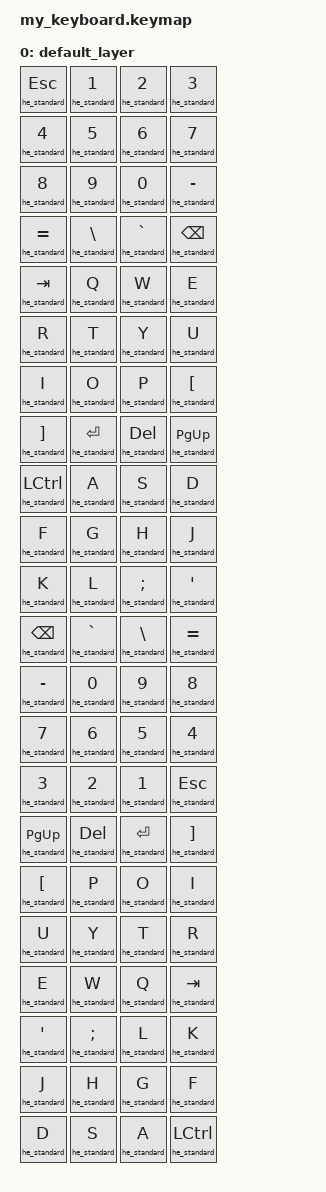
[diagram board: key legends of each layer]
#include <behaviors.dtsi>
#include <dt-bindings/zmk/keys.h>
#include <dt-bindings/zmk/rgb.h>

/ {
    behaviors {
        /* Adjustable actuation: takes a keycode as an argument */
        /* Usage: &he_standard ESC */
        he_standard: he_standard {
            compatible = "he,behavior-adjustable-actuation";
            #binding-cells = <1>; // Changed to 1 to accept keycode
            press-threshold-percent = <50>;
            release-threshold-percent = <45>;
        };
    };

    keymap {
        compatible = "zmk,keymap";
        default_layer {
            // Combined bindings for both halves (88 total)
            bindings = <
                /* Left Half - Row 0 (Mux 0) */
                &he_standard ESC   &he_standard N1   &he_standard N2   &he_standard N3
                &he_standard N4   &he_standard N5   &he_standard N6   &he_standard N7
                &he_standard N8   &he_standard N9   &he_standard N0   &he_standard MINUS
                &he_standard EQUAL &he_standard BSLH &he_standard GRAVE &he_standard BSPC

                /* Left Half - Row 1 (Mux 1) */
                &he_standard TAB  &he_standard Q    &he_standard W    &he_standard E
                &he_standard R    &he_standard T    &he_standard Y    &he_standard U
                &he_standard I    &he_standard O    &he_standard P    &he_standard LBKT
                &he_standard RBKT &he_standard RET  &he_standard DEL  &he_standard PG_UP

                /* Left Half - Row 2 (Mux 2) */
                &he_standard LCTRL &he_standard A   &he_standard S    &he_standard D
                &he_standard F    &he_standard G    &he_standard H    &he_standard J
                &he_standard K    &he_standard L    &he_standard SEMI &he_standard SQT

                /* Right Half - Row 3 (Mux 0) */
                &he_standard BSPC &he_standard GRAVE &he_standard BSLH &he_standard EQUAL
                &he_standard MINUS &he_standard N0 &he_standard N9 &he_standard N8
                &he_standard N7 &he_standard N6 &he_standard N5 &he_standard N4
                &he_standard N3 &he_standard N2 &he_standard N1 &he_standard ESC

                /* Right Half - Row 4 (Mux 1) */
                &he_standard PG_UP &he_standard DEL &he_standard RET &he_standard RBKT
                &he_standard LBKT &he_standard P &he_standard O &he_standard I
                &he_standard U &he_standard Y &he_standard T &he_standard R
                &he_standard E &he_standard W &he_standard Q &he_standard TAB

                /* Right Half - Row 5 (Mux 2) */
                &he_standard SQT &he_standard SEMI &he_standard L &he_standard K
                &he_standard J &he_standard H &he_standard G &he_standard F
                &he_standard D &he_standard S &he_standard A &he_standard LCTRL
            >;
        };
    };
};
